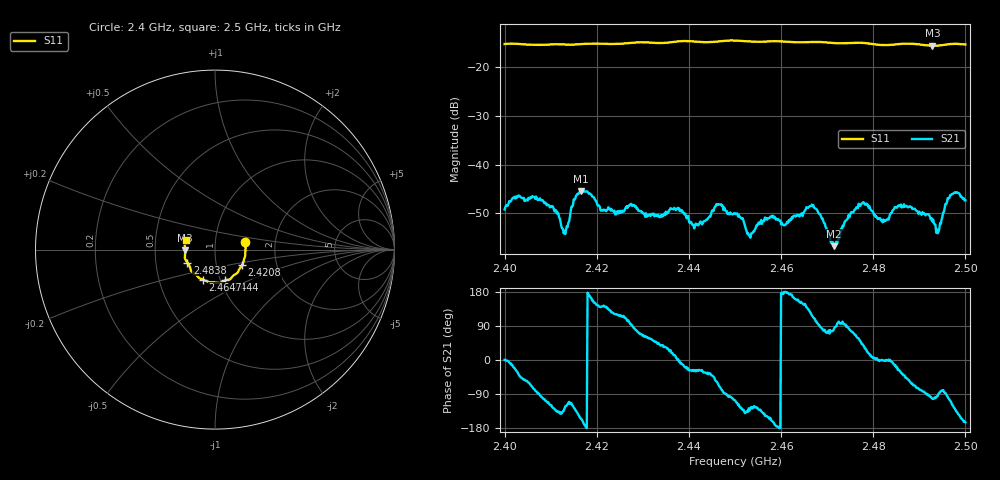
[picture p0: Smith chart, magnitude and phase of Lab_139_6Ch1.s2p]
# Hz S RI R
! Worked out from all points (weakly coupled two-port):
!   601 points, 2.4 GHz to 2.5 GHz, reference 50 ohm
!   highest |S21| = -45.43 dB at 2.4165 GHz (marker M1); lowest = -56.7 dB at 2.4715 GHz (marker M2)
!   lowest |S11| = -15.6 dB at 2.4928 GHz (marker M3), VSWR 1.40, Z = 35.8 - j0.362 ohm
!   |S11| at or under -10 dB: start of sweep to end of sweep
!   S12 and S22 are empty: the file has one direction only
!   S11 on the Smith chart (normalised r, x): 2.4 GHz: 1.40, +0.12; 2.4208 GHz: 1.33, -0.24; 2.444 GHz: 1.06, -0.37; 2.4647 GHz: 0.83, -0.29; 2.4838 GHz: 0.73, -0.11; 2.5 GHz: 0.72, +0.08
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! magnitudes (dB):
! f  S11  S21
! 2.4 GHz  -15.3  -49.2
! 2.4065 GHz  -15.4  -46.6
! 2.413 GHz  -15.3  -53.6
! 2.4165 GHz  -15.3  -45.4
! 2.4167 GHz  -15.2  -45.4
! 2.4208 GHz  -15.2  -49.5
! 2.4333 GHz  -15.0  -50.3
! 2.444 GHz  -14.9  -51.3
! 2.4465 GHz  -14.7  -48.2
! 2.45 GHz  -14.5  -50.0
! 2.4532 GHz  -14.7  -54.5
! 2.4647 GHz  -14.9  -50.5
! 2.4667 GHz  -14.8  -48.2
! 2.4715 GHz  -15.0  -56.7
! 2.4773 GHz  -15.0  -48.2
! 2.4833 GHz  -15.4  -51.3
! 2.4838 GHz  -15.4  -50.0
! 2.4877 GHz  -15.2  -48.7
! 2.4928 GHz  -15.6  -51.7
! 2.4942 GHz  -15.6  -53.7
! 2.4972 GHz  -15.2  -46.0
! 2.5 GHz  -15.4  -47.3
